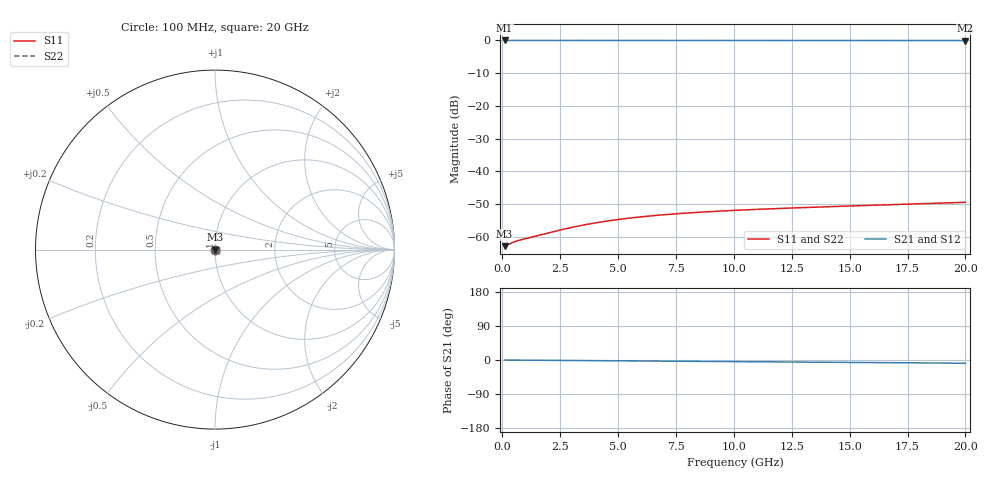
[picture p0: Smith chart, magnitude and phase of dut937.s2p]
! Touchstone file exported from HFSS 2026.1.0
!  File:  C:/ffzhzh/LocalFiles/Ansys_Project_Files/temp_train_TSV_937_1783186961_51560.aedt
!  Generated:  01:44:29 AM Jul  5, 2026
!  Design:  TSV
!  Project:  temp_train_TSV_937_1783186961_51560
! Variables:
!  h_bsmrdl = 2um
!  h_ox = 20um
!  h_rdl = 5um
!  h_sub = 93.22um
!  h_tmrdl = 5um
!  h_tsv = 93.22um
!  h_via = 3um
!  l_bsmrdl = 300um
!  l_sub = 407.9um
!  l_tmrdl = 200um
!  m_sub = 200um
!  pitch = 16.43um
!  r_tsv = 3.95um
!  s_tmrdl = 10um
!  w_bsmrdl = 18um
!  w_sub = 500um
!  w_tmrdl = 12um
!  x_tsv_center1 = 206um
!  x_tsv_center2 = 524um
!  x_tsv_center3 = 736um
!  x_tsv_center4 = 1054um
!  x_tsv_center5 = 1266um
!  x_tsv_center6 = 1584um
# GHz S MA R 50.000000
! Terminal data exported
! Port[1] = TSV1_1_T1
! Port[2] = TSV1_1_T2
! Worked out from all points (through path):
!   200 points, 100 MHz to 20 GHz, reference 50 ohm
!   highest |S21| = -0.01 dB at 100 MHz (marker M1); lowest = 0.0 dB at 20 GHz (marker M2)
!   group delay of S21, straight-line fit = 1.17 ps
!   lowest |S11| = -62.9 dB at 100 MHz (marker M3), VSWR 1.00, Z = 50.1 + j0.00626 ohm
!   |S11| at or under -10 dB: start of sweep to end of sweep
!   |S22| runs from -62.9 to -49.5 dB; largest |S21 - S12| = 3.7e-15
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0.1  0.0007174 5.0  0.9993 -0.0  0.9993 -0.0  0.0007174 5.0
! Gamma 0 0 0 0
! Port Impedance 50 0 50 0
0.4  0.000808 13.3  0.9992 -0.2  0.9992 -0.2  0.000808 13.3
0.6  0.0008568 15.9  0.9992 -0.3  0.9992 -0.3  0.0008568 15.9
0.8  0.000897 18.2  0.9992 -0.4  0.9992 -0.4  0.000897 18.2
2  0.001148 28.1  0.999 -0.9  0.999 -0.9  0.001148 28.1
2.5  0.001268 30.0  0.9989 -1.1  0.9989 -1.1  0.001268 30.0
3  0.001389 31.0  0.9988 -1.3  0.9988 -1.3  0.001389 31.0
3.5  0.001508 31.2  0.9987 -1.5  0.9987 -1.5  0.001508 31.2
4.2  0.001667 30.6  0.9986 -1.8  0.9986 -1.8  0.001667 30.6
4.6  0.001752 29.9  0.9985 -2.0  0.9985 -2.0  0.001752 29.9
5  0.001833 29.2  0.9984 -2.2  0.9984 -2.2  0.001833 29.2
5.4  0.001909 28.3  0.9984 -2.3  0.9984 -2.3  0.001909 28.3
5.9  0.001998 27.1  0.9983 -2.6  0.9983 -2.6  0.001998 27.1
6.8  0.002142 24.9  0.9981 -2.9  0.9981 -2.9  0.002142 24.9
7.5  0.002241 23.1  0.998 -3.2  0.998 -3.2  0.002241 23.1
8.3  0.002343 21.1  0.9979 -3.6  0.9979 -3.6  0.002343 21.1
9.2  0.002445 18.9  0.9977 -3.9  0.9977 -3.9  0.002445 18.9
10.1  0.002537 16.8  0.9976 -4.3  0.9976 -4.3  0.002536 16.8
11.6  0.002674 13.5  0.9975 -5.0  0.9975 -5.0  0.002674 13.5
13.4  0.002822 9.9  0.9973 -5.7  0.9973 -5.7  0.002822 9.9
16.7  0.003083 3.7  0.997 -7.1  0.997 -7.1  0.003082 3.7
20  0.003362 -2.4  0.9966 -8.5  0.9966 -8.5  0.003361 -2.4
